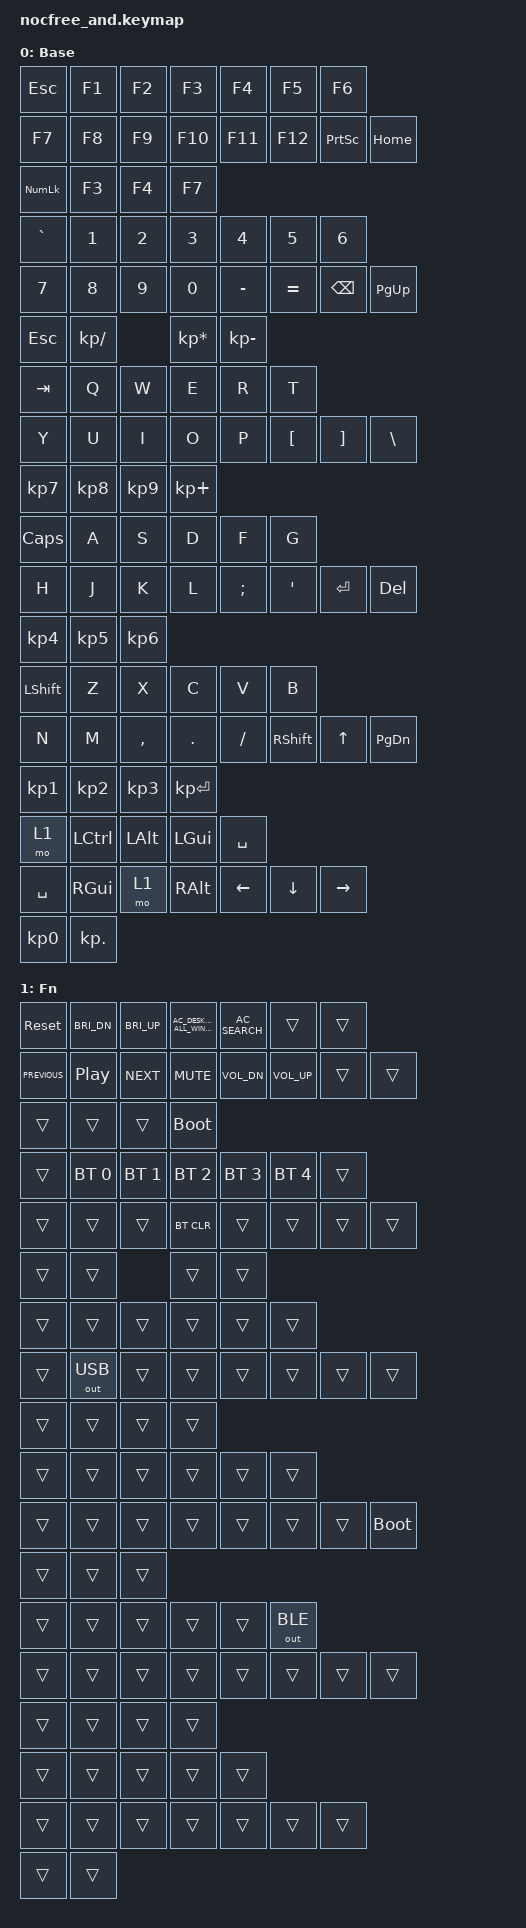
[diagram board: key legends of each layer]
/*
 * Copyright (c) 2026 The NocFree ZMK Contributors
 *
 * SPDX-License-Identifier: MIT
 */

#include <behaviors.dtsi>
#include <dt-bindings/zmk/bt.h>
#include <dt-bindings/zmk/keys.h>
#include <dt-bindings/zmk/outputs.h>

/*
 * Conservative default ANSI map.
 *
 * Bindings are listed in visual reading order. Each physical row is the left
 * half, then the right half, then the numpad keys on that row.
 *
 * The retail ANSI keycaps carry Mac legends, so the bottom row reads
 * Fn / Control / Option / Command from the outside in. Option maps to ALT and
 * Command maps to GUI, which is the usual behaviour of a Mac keyboard on any
 * host. The bottom-row modifier order is the least certain part of this map and
 * should be confirmed against the physical legends; changing it is a keymap
 * edit only and does not affect the electrical map.
 */

/ {
    keymap {
        compatible = "zmk,keymap";

        default_layer {
            display-name = "Base";
            bindings = <
                &kp ESC   &kp F1    &kp F2    &kp F3    &kp F4    &kp F5    &kp F6
                &kp F7    &kp F8    &kp F9    &kp F10   &kp F11   &kp F12   &kp PSCRN &kp HOME
                &kp KP_NUM &kp F3 &kp F4 &kp F7

                &kp GRAVE &kp N1    &kp N2    &kp N3    &kp N4    &kp N5    &kp N6
                &kp N7    &kp N8    &kp N9    &kp N0    &kp MINUS &kp EQUAL &kp BSPC  &kp PG_UP
                &kp ESC &kp KP_DIVIDE &kp KP_MULTIPLY &kp KP_MINUS

                &kp TAB   &kp Q     &kp W     &kp E     &kp R     &kp T
                &kp Y     &kp U     &kp I     &kp O     &kp P     &kp LBKT  &kp RBKT  &kp BSLH
                &kp KP_N7 &kp KP_N8 &kp KP_N9 &kp KP_PLUS

                &kp CAPS  &kp A     &kp S     &kp D     &kp F     &kp G
                &kp H     &kp J     &kp K     &kp L     &kp SEMI  &kp SQT   &kp RET   &kp DEL
                &kp KP_N4 &kp KP_N5 &kp KP_N6

                &kp LSHFT &kp Z     &kp X     &kp C     &kp V     &kp B
                &kp N     &kp M     &kp COMMA &kp DOT   &kp FSLH  &kp RSHFT &kp UP    &kp PG_DN
                &kp KP_N1 &kp KP_N2 &kp KP_N3 &kp KP_ENTER

                &mo 1     &kp LCTRL &kp LALT  &kp LGUI  &kp SPACE
                &kp SPACE &kp RGUI  &mo 1     &kp RALT  &kp LEFT  &kp DOWN  &kp RIGHT
                &kp KP_N0 &kp KP_DOT
            >;
        };

        /*
         * Function layer: host controls, Bluetooth profile management, output
         * selection, and the two recovery behaviours.
         *
         *   Fn+1..Fn+5   select Bluetooth profile 0..4
         *   Fn+0         clear the selected Bluetooth profile
         *   Fn+U         send HID over USB
         *   Fn+B         send HID over Bluetooth
         *   Fn+F1/F2     display brightness down/up
         *   Fn+F3        show all windows / Mission Control
         *   Fn+F4        search / Spotlight
         *   Fn+F5/F6     unavailable (keyboard backlight is not implemented)
         *   Fn+F7/F8/F9  previous track, play/pause, next track
         *   Fn+F10/11/12 mute, volume down, volume up
         *   Fn+Esc       reset the left half
         *   Fn+Delete    reboot the right half into its bootloader
         *   Fn+numpad F7    reboot the numpad into its bootloader
         *
         * ZMK reset behaviours act on the part whose key triggered them: Esc
         * is a left-half key, Delete a right-half one, and the numpad
         * F7 a numpad one. Fn+Delete and Fn+numpad-F7 therefore
         * need the split link up. Any part can always be recovered over its
         * USB CDC interface instead; see docs/recovery.md.
         */
        function_layer {
            display-name = "Fn";
            bindings = <
                &sys_reset &kp C_BRI_DN &kp C_BRI_UP &kp C_AC_DESKTOP_SHOW_ALL_WINDOWS &kp C_AC_SEARCH &trans &trans
                &kp C_PREVIOUS &kp C_PLAY_PAUSE &kp C_NEXT &kp C_MUTE &kp C_VOL_DN &kp C_VOL_UP &trans &trans
                &trans     &trans     &trans     &bootloader

                &trans     &bt BT_SEL 0 &bt BT_SEL 1 &bt BT_SEL 2 &bt BT_SEL 3 &bt BT_SEL 4 &trans
                &trans     &trans     &trans     &bt BT_CLR &trans     &trans     &trans     &trans
                &trans     &trans     &trans     &trans

                &trans     &trans     &trans     &trans     &trans     &trans
                &trans     &out OUT_USB &trans   &trans     &trans     &trans     &trans     &trans
                &trans     &trans     &trans     &trans

                &trans     &trans     &trans     &trans     &trans     &trans
                &trans     &trans     &trans     &trans     &trans     &trans     &trans  &bootloader
                &trans     &trans     &trans

                &trans     &trans     &trans     &trans     &trans     &out OUT_BLE
                &trans     &trans     &trans     &trans     &trans     &trans     &trans     &trans
                &trans     &trans     &trans     &trans

                &trans     &trans     &trans     &trans     &trans
                &trans     &trans     &trans     &trans     &trans     &trans     &trans
                &trans     &trans
            >;
        };
    };
};
